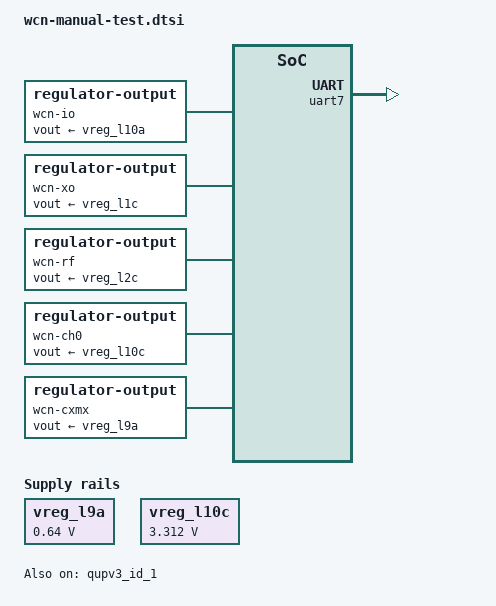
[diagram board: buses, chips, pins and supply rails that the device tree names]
/* TEST "manual": WCN rails under userspace control, UART7 as a plain tty */
/ {
	aliases {
		serial1 = &uart7;
	};

	wcn-io { compatible = "regulator-output"; vout-supply = <&vreg_l10a>; };
	wcn-xo { compatible = "regulator-output"; vout-supply = <&vreg_l1c>; };
	wcn-rf { compatible = "regulator-output"; vout-supply = <&vreg_l2c>; };
	wcn-ch0 { compatible = "regulator-output"; vout-supply = <&vreg_l10c>; };
	wcn-cxmx { compatible = "regulator-output"; vout-supply = <&vreg_l9a>; };
};

&vreg_l10a {
	/delete-property/ regulator-always-on;
};

&vreg_l9a {
	regulator-min-microvolt = <640000>;
	regulator-max-microvolt = <640000>;
};

&vreg_l10c {
	regulator-min-microvolt = <3312000>;
	regulator-max-microvolt = <3312000>;
};

&qupv3_id_1 {
	status = "okay";
};

&uart7 {
	status = "okay";
};

&qup_uart7_cts { bias-disable; drive-strength = <2>; };
&qup_uart7_rts { bias-pull-down; drive-strength = <2>; };
&qup_uart7_tx { bias-pull-up; drive-strength = <2>; };
&qup_uart7_rx { bias-disable; drive-strength = <2>; };
